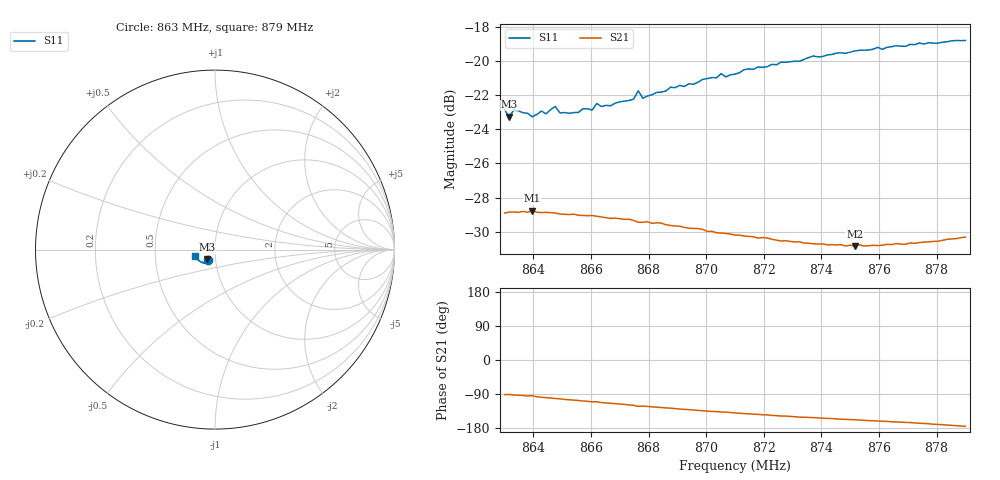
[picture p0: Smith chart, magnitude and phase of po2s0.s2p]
# HZ S RI R 50
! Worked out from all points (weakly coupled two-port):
!   101 points, 863 MHz to 879 MHz, reference 50 ohm
!   highest |S21| = -28.75 dB at 863.96 MHz (marker M1); lowest = -30.8 dB at 875.16 MHz (marker M2)
!   lowest |S11| = -23.3 dB at 863.16 MHz (marker M3), VSWR 1.15, Z = 45.7 - j4.92 ohm
!   |S11| at or under -10 dB: start of sweep to end of sweep
!   S12 and S22 are empty: the file has one direction only
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8.63e8  -0.041 -0.0591  -0.000845 -0.0359  0 0  0 0
8.6316e8  -0.0427 -0.0537  -0.000616 -0.0361  0 0  0 0
8.6332e8  -0.0399 -0.0597  -0.00156 -0.0361  0 0  0 0
8.6396e8  -0.0348 -0.0591  -0.00266 -0.0364  0 0  0 0
8.6428e8  -0.037 -0.061  -0.00524 -0.0356  0 0  0 0
8.6444e8  -0.0368 -0.0596  -0.00584 -0.0356  0 0  0 0
8.6476e8  -0.0408 -0.0612  -0.00729 -0.0352  0 0  0 0
8.6492e8  -0.0363 -0.0604  -0.00772 -0.0348  0 0  0 0
8.6572e8  -0.0346 -0.0636  -0.011 -0.0336  0 0  0 0
8.6604e8  -0.0344 -0.063  -0.0123 -0.0331  0 0  0 0
8.662e8  -0.0375 -0.0649  -0.0121 -0.033  0 0  0 0
8.6748e8  -0.037 -0.0678  -0.0169 -0.0297  0 0  0 0
8.6764e8  -0.0445 -0.0686  -0.0181 -0.0285  0 0  0 0
8.678e8  -0.0376 -0.068  -0.0176 -0.0288  0 0  0 0
8.6844e8  -0.0403 -0.0703  -0.0194 -0.0274  0 0  0 0
8.7052e8  -0.0521 -0.0755  -0.023 -0.0213  0 0  0 0
8.7068e8  -0.0508 -0.0739  -0.0231 -0.0211  0 0  0 0
8.71e8  -0.0534 -0.0742  -0.0237 -0.02  0 0  0 0
8.7372e8  -0.0745 -0.0715  -0.0258 -0.0137  0 0  0 0
8.7516e8  -0.0848 -0.0649  -0.0266 -0.0109  0 0  0 0
8.7644e8  -0.0942 -0.0567  -0.0278 -0.00839  0 0  0 0
8.79e8  -0.109 -0.0354  -0.0304 -0.00269  0 0  0 0
